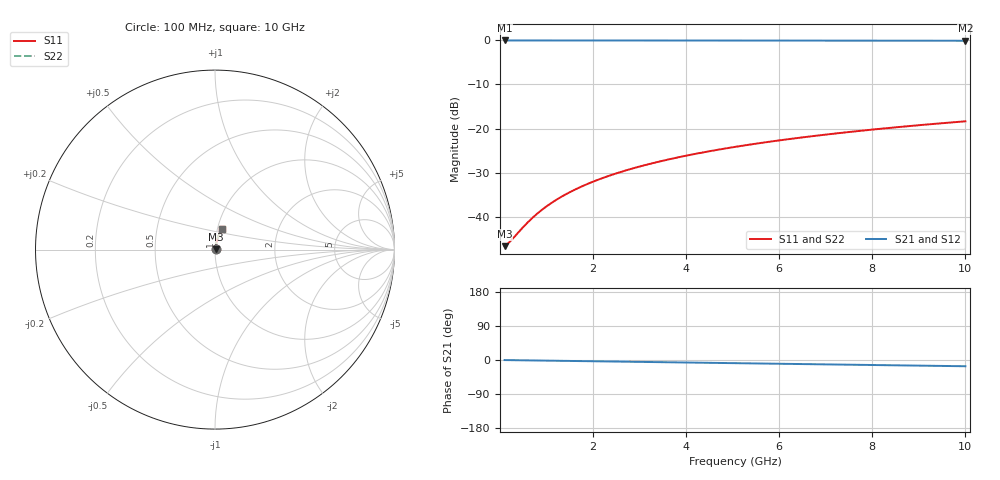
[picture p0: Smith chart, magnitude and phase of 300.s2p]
# Hz S RI R 50.00
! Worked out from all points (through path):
!   100 points, 100 MHz to 10 GHz, reference 50 ohm
!   highest |S21| = -0.04 dB at 100 MHz (marker M1); lowest = -0.1 dB at 10 GHz (marker M2)
!   group delay of S21, straight-line fit = 4.58 ps
!   lowest |S11| = -46.6 dB at 100 MHz (marker M3), VSWR 1.01, Z = 50.5 + j0.123 ohm
!   |S11| at or under -10 dB: start of sweep to end of sweep
!   |S22| runs from -46.6 to -18.4 dB; largest |S21 - S12| = 0
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1e8  0.00449 0.00122  0.9955 -0.00287  0.9955 -0.00287  0.00449 0.00122
2e8  0.00453 0.00243  0.9955 -0.00575  0.9955 -0.00575  0.00453 0.00243
5e8  0.00466 0.00608  0.9953 -0.0144  0.9953 -0.0144  0.00466 0.00608
6e8  0.00471 0.0073  0.9952 -0.0172  0.9952 -0.0172  0.00471 0.0073
7e8  0.00477 0.00851  0.9952 -0.0201  0.9952 -0.0201  0.00477 0.00851
9e8  0.0049 0.0109  0.995 -0.0259  0.995 -0.0259  0.0049 0.0109
1.1e9  0.00506 0.0134  0.9948 -0.0316  0.9948 -0.0316  0.00506 0.0134
1.3e9  0.00524 0.0158  0.9945 -0.0374  0.9945 -0.0374  0.00524 0.0158
1.5e9  0.00545 0.0182  0.9942 -0.0431  0.9942 -0.0431  0.00545 0.0182
1.8e9  0.00582 0.0218  0.9937 -0.0517  0.9937 -0.0517  0.00582 0.0218
2.1e9  0.00625 0.0255  0.9931 -0.0603  0.9931 -0.0603  0.00625 0.0255
2.5e9  0.00691 0.0303  0.9922 -0.0717  0.9922 -0.0717  0.00691 0.0303
2.9e9  0.00769 0.0351  0.9911 -0.0832  0.9911 -0.0832  0.00769 0.0351
3.4e9  0.00881 0.0411  0.9895 -0.0974  0.9895 -0.0974  0.00881 0.0411
3.8e9  0.00983 0.0458  0.9881 -0.1088  0.9881 -0.1088  0.00983 0.0458
4.2e9  0.011 0.0505  0.9865 -0.1202  0.9865 -0.1202  0.011 0.0505
5.1e9  0.0139 0.061  0.9824 -0.1456  0.9824 -0.1456  0.0139 0.061
5.9e9  0.017 0.0702  0.9781 -0.1681  0.9781 -0.1681  0.017 0.0702
6.7e9  0.0204 0.0792  0.9733 -0.1904  0.9733 -0.1904  0.0204 0.0792
7.5e9  0.0243 0.0881  0.9678 -0.2125  0.9678 -0.2125  0.0243 0.0881
8.4e9  0.0291 0.0978  0.961 -0.2371  0.961 -0.2371  0.0291 0.0978
1e10  0.0389 0.1144  0.947 -0.2803  0.947 -0.2803  0.0389 0.1144
